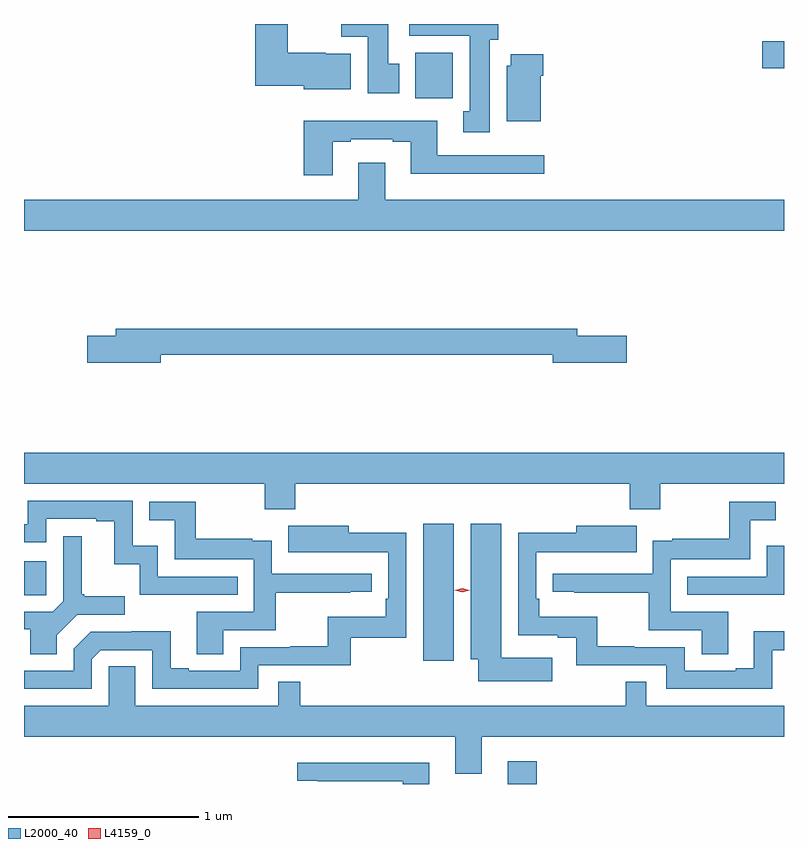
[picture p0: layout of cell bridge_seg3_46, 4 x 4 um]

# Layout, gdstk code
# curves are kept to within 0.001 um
import gdstk
lib = gdstk.Library(unit=1e-6, precision=1e-09)
def R(c, l, rs):  # rectangles x0, y0, x1, y1
    for r in rs: c.add(gdstk.rectangle(r[:2], r[2:], *l))
def P(c, l, *ps):  # polygons
    for p in ps: c.add(gdstk.Polygon(p, *l))
L2000_40 = (2000, 40)
L4159_0 = (4159, 0)

bridge_seg3_46 = lib.new_cell('bridge_seg3_46')
R(bridge_seg3_46, L2000_40, [(1059.323,679.356,1059.476,679.477), (1058.879,680.004,1059.04,680.725), (1056.777,680.349,1056.894,680.529), (1058.837,682.964,1059.034,683.206), (1060.662,683.123,1060.777,683.265)])
P(bridge_seg3_46, L2000_40, [(1058.752,683.148),(1058.695,683.148),(1058.695,683.356),(1058.446,683.356),(1058.446,683.288),(1058.585,683.288),(1058.585,682.992),(1058.752,682.992)],
  [(1059.229,683.274),(1059.274,683.274),(1059.274,683.356),(1058.805,683.356),(1058.805,683.294),(1059.122,683.294),(1059.122,682.898),(1059.089,682.898),(1059.089,682.785),(1059.229,682.785)],
  [(1058.497,683.2),(1058.364,683.2),(1058.364,683.206),(1058.164,683.206),(1058.164,683.356),(1057.994,683.356),(1057.994,683.03),(1058.25,683.03),(1058.25,683.012),(1058.497,683.012)],
  [(1059.496,683.084),(1059.509,683.084),(1059.509,683.197),(1059.338,683.197),(1059.338,683.136),(1059.317,683.136),(1059.317,682.844),(1059.496,682.844)],
  [(1058.401,682.737),(1058.497,682.737),(1058.497,682.749),(1058.717,682.749),(1058.717,682.737),(1058.813,682.737),(1058.813,682.568),(1059.514,682.568),(1059.514,682.665),(1058.953,682.665),(1058.953,682.846),(1058.249,682.846),(1058.249,682.56),(1058.401,682.56)],
  [(1060.777,682.432),(1058.677,682.432),(1058.677,682.627),(1058.537,682.627),(1058.537,682.432),(1056.777,682.432),(1056.777,682.268),(1060.777,682.268)],
  [(1057.498,681.616),(1059.56,681.616),(1059.56,681.574),(1059.949,681.574),(1059.949,681.716),(1059.688,681.716),(1059.688,681.752),(1057.259,681.752),(1057.259,681.716),(1057.11,681.716),(1057.11,681.574),(1057.498,681.574)],
  [(1058.204,680.936),(1059.965,680.936),(1059.965,680.801),(1060.125,680.801),(1060.125,680.936),(1060.777,680.936),(1060.777,681.1),(1056.777,681.1),(1056.777,680.936),(1058.044,680.936),(1058.044,680.801),(1058.204,680.801)],
  [(1057.901,680.448),(1057.482,680.448),(1057.482,680.611),(1057.35,680.611),(1057.35,680.847),(1056.798,680.847),(1056.798,680.724),(1056.777,680.724),(1056.777,680.628),(1056.894,680.628),(1056.894,680.751),(1057.157,680.751),(1057.157,680.739),(1057.253,680.739),(1057.253,680.513),(1057.386,680.513),(1057.386,680.352),(1057.901,680.352)],
  [(1057.825,680.166),(1058.102,680.166),(1058.102,680.362),(1058.495,680.362),(1058.495,680.367),(1058.608,680.367),(1058.608,680.463),(1058.082,680.463),(1058.082,680.635),(1057.979,680.635),(1057.979,680.647),(1057.681,680.647),(1057.681,680.841),(1057.435,680.841),(1057.435,680.744),(1057.57,680.744),(1057.57,680.538),(1057.986,680.538),(1057.986,680.262),(1057.685,680.262),(1057.685,680.038),(1057.825,680.038)],
  [(1060.483,680.262),(1060.182,680.262),(1060.182,680.538),(1060.599,680.538),(1060.599,680.744),(1060.733,680.744),(1060.733,680.841),(1060.488,680.841),(1060.488,680.647),(1060.189,680.647),(1060.189,680.635),(1060.086,680.635),(1060.086,680.463),(1059.561,680.463),(1059.561,680.367),(1059.673,680.367),(1059.673,680.362),(1060.066,680.362),(1060.066,680.166),(1060.343,680.166),(1060.343,680.038),(1060.483,680.038)],
  [(1059.556,680.02),(1059.289,680.02),(1059.289,680.725),(1059.128,680.725),(1059.128,680.012),(1059.167,680.012),(1059.167,679.898),(1059.556,679.898)],
  [(1057.134,680.013),(1057.182,680.061),(1057.452,680.061),(1057.452,679.857),(1058.01,679.857),(1058.01,679.98),(1058.497,679.98),(1058.497,680.127),(1058.79,680.127),(1058.79,680.678),(1058.485,680.678),(1058.485,680.716),(1058.167,680.716),(1058.167,680.576),(1058.694,680.577),(1058.694,680.332),(1058.681,680.332),(1058.681,680.236),(1058.376,680.236),(1058.376,680.081),(1058.179,680.081),(1058.179,680.076),(1057.914,680.076),(1057.914,679.953),(1057.645,679.953),(1057.645,679.966),(1057.549,679.966),(1057.549,680.159),(1057.344,680.159),(1057.344,680.157),(1057.128,680.157),(1057.038,680.067),(1057.038,679.953),(1056.777,679.953),(1056.777,679.857),(1057.134,679.857)],
  [(1060.716,680.061),(1060.777,680.061),(1060.777,680.159),(1060.619,680.159),(1060.619,679.966),(1060.523,679.966),(1060.523,679.953),(1060.254,679.953),(1060.254,680.076),(1059.989,680.076),(1059.989,680.081),(1059.793,680.081),(1059.793,680.236),(1059.488,680.236),(1059.488,680.332),(1059.474,680.332),(1059.474,680.577),(1059.787,680.577),(1059.787,680.576),(1060.001,680.576),(1060.001,680.716),(1059.683,680.716),(1059.683,680.678),(1059.378,680.678),(1059.378,680.139),(1059.587,680.139),(1059.587,680.127),(1059.684,680.127),(1059.684,679.98),(1060.158,679.98),(1060.158,679.857),(1060.716,679.857)],
  [(1056.949,680.14),(1057.056,680.247),(1057.306,680.247),(1057.306,680.344),(1057.093,680.344),(1057.093,680.356),(1057.081,680.356),(1057.081,680.659),(1056.984,680.659),(1056.984,680.319),(1056.927,680.262),(1056.777,680.262),(1056.777,680.17),(1056.809,680.17),(1056.809,680.038),(1056.949,680.038)],
  [(1060.777,680.611),(1060.686,680.611),(1060.686,680.448),(1060.267,680.448),(1060.267,680.352),(1060.777,680.352)],
  [(1059.187,679.604),(1060.777,679.604),(1060.777,679.768),(1060.053,679.768),(1060.053,679.895),(1059.945,679.895),(1059.945,679.768),(1058.231,679.768),(1058.231,679.895),(1058.115,679.895),(1058.115,679.768),(1057.363,679.768),(1057.363,679.976),(1057.224,679.976),(1057.224,679.768),(1056.777,679.768),(1056.777,679.604),(1059.047,679.604),(1059.047,679.41),(1059.187,679.41)],
  [(1058.911,679.468),(1058.214,679.468),(1058.214,679.373),(1058.323,679.373),(1058.323,679.371),(1058.771,679.371),(1058.771,679.356),(1058.911,679.356)])
P(bridge_seg3_46, L4159_0, [(1059.084,680.365),(1059.044,680.375),(1059.044,680.375),(1059.044,680.375),(1059.084,680.385),(1059.124,680.375),(1059.124,680.375),(1059.124,680.375)])

lib.write_gds('bridge_seg3_46.gds')
